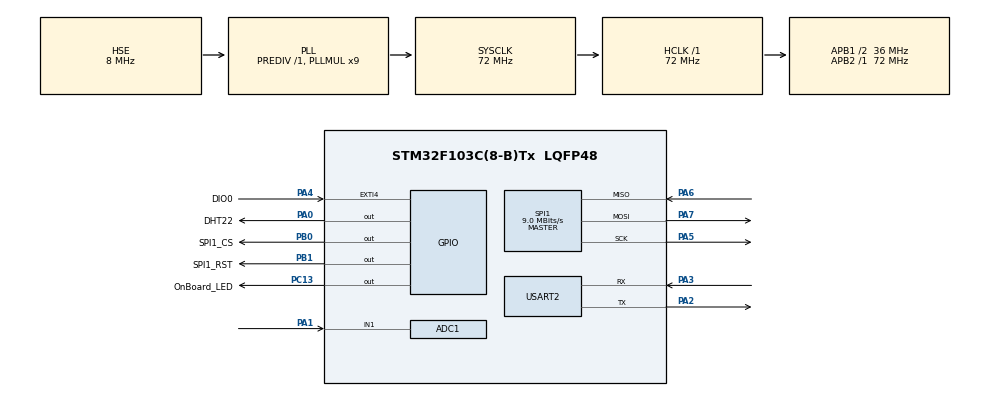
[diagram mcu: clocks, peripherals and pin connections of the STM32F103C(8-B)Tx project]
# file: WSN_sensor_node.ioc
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ADC1.Channel-0\#ChannelRegularConversion=ADC_CHANNEL_1
ADC1.NbrOfConversionFlag=1
ADC1.Rank-0\#ChannelRegularConversion=1
ADC1.SamplingTime-0\#ChannelRegularConversion=ADC_SAMPLETIME_1CYCLE_5
ADC1.master=1
Mcu.Family=STM32F1
Mcu.Name=STM32F103C(8-B)Tx
Mcu.Package=LQFP48
NVIC.EXTI4_IRQn=true\:0\:0\:false\:false\:true\:true\:true\:true
NVIC.PriorityGroup=NVIC_PRIORITYGROUP_4
NVIC.RTC_Alarm_IRQn=true\:0\:0\:false\:false\:true\:true\:true\:true
NVIC.SPI1_IRQn=true\:0\:0\:false\:false\:true\:true\:true\:true
PA0-WKUP.GPIO_Label=DHT22
PA0-WKUP.Signal=GPIO_Output
PA1.Signal=ADCx_IN1
PA13.Mode=Serial_Wire
PA13.Signal=SYS_JTMS-SWDIO
PA14.Mode=Serial_Wire
PA14.Signal=SYS_JTCK-SWCLK
PA2.Mode=Asynchronous
PA2.Signal=USART2_TX
PA3.Mode=Asynchronous
PA3.Signal=USART2_RX
PA4.GPIO_Label=DIO0
PA4.Signal=GPXTI4
PA5.Mode=Full_Duplex_Master
PA5.Signal=SPI1_SCK
PA6.Mode=Full_Duplex_Master
PA6.Signal=SPI1_MISO
PA7.Mode=Full_Duplex_Master
PA7.Signal=SPI1_MOSI
PB0.GPIO_Label=SPI1_CS
PB0.PinState=GPIO_PIN_SET
PB0.Signal=GPIO_Output
PB1.GPIO_Label=SPI1_RST
PB1.PinState=GPIO_PIN_SET
PB1.Signal=GPIO_Output
PC13-TAMPER-RTC.GPIO_Label=OnBoard_LED
PC13-TAMPER-RTC.Signal=GPIO_Output
PC14-OSC32_IN.Mode=LSE-External-Oscillator
PC14-OSC32_IN.Signal=RCC_OSC32_IN
PC15-OSC32_OUT.Mode=LSE-External-Oscillator
PC15-OSC32_OUT.Signal=RCC_OSC32_OUT
PD0-OSC_IN.Mode=HSE-External-Oscillator
PD0-OSC_IN.Signal=RCC_OSC_IN
PD1-OSC_OUT.Mode=HSE-External-Oscillator
PD1-OSC_OUT.Signal=RCC_OSC_OUT
ProjectManager.HeapSize=0x200
ProjectManager.StackSize=0x400
ProjectManager.TargetToolchain=STM32CubeIDE
RCC.ADCPresc=RCC_ADCPCLK2_DIV6
RCC.AHBFreq_Value=72000000
RCC.APB1CLKDivider=RCC_HCLK_DIV2
RCC.APB1Freq_Value=36000000
RCC.APB1TimFreq_Value=72000000
RCC.APB2Freq_Value=72000000
RCC.APB2TimFreq_Value=72000000
RCC.HCLKFreq_Value=72000000
RCC.PLLMUL=RCC_PLL_MUL9
RCC.PLLSourceVirtual=RCC_PLLSOURCE_HSE
RCC.RTCClockSelection=RCC_RTCCLKSOURCE_LSE
RCC.SYSCLKFreq_VALUE=72000000
RCC.SYSCLKSource=RCC_SYSCLKSOURCE_PLLCLK
RCC.USBFreq_Value=72000000
SH.ADCx_IN1.0=ADC1_IN1,IN1
SPI1.BaudRatePrescaler=SPI_BAUDRATEPRESCALER_8
SPI1.CalculateBaudRate=9.0 MBits/s
SPI1.Direction=SPI_DIRECTION_2LINES
SPI1.Mode=SPI_MODE_MASTER
SPI1.VirtualType=VM_MASTER
TIM4.Prescaler=71
USART2.VirtualMode=VM_ASYNC
VP_RTC_VS_RTC_Activate.Mode=RTC_Enabled
VP_RTC_VS_RTC_Calendar.Mode=RTC_Calendar
VP_TIM1_VS_ClockSourceINT.Mode=Internal
VP_TIM4_VS_ClockSourceINT.Mode=Internal
board=custom

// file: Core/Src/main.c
/* USER CODE BEGIN Header */
/**
  ******************************************************************************
  * @file           : main.c
  * @brief          : Main program body
  ******************************************************************************
  * @attention
  *
  * Copyright (c) 2025 STMicroelectronics.
  * All rights reserved.
  *
  * This software is licensed under terms that can be found in the LICENSE file
  * in the root directory of this software component.
  * If no LICENSE file comes with this software, it is provided AS-IS.
  *
  ******************************************************************************
  */
/* USER CODE END Header */
#include "main.h"
#include "adc.h"
#include "rtc.h"
#include "spi.h"
#include "tim.h"
#include "usart.h"
#include "gpio.h"

/* USER CODE BEGIN Includes */
#include "sx1278_lora.h"
#include "test_stop_mode.h"
#include "lora_app.h"
#include "sensor_handle.h"

/* USER CODE END Includes */

/* USER CODE BEGIN PV */

extern uint16_t TOTAL_CYCLE_SEC;

LoRa myLoRa;
Sensor_Config_t mySensors;
Sensor_Data_t   myData;

uint8_t mySlot = 0;
uint32_t sensor_cycle_count = 0;

uint8_t txBuffer[128];
uint8_t rxBuffer[128];

volatile uint8_t loraRxDoneFlag = 0; // Cờ báo nhận xong từ ngắt DIO0
volatile uint32_t ledTimerStart = 0;  // Thời điểm bắt đầu bật LED
volatile uint8_t ledTimerActive = 0; // Cờ báo LED đang trong thời gian sáng

volatile uint8_t alarm_triggered = 0;
/* USER CODE END PV */

void SystemClock_Config(void);

/* USER CODE BEGIN 0 */
uint8_t initialize_lora() {

    myLoRa.CS_port = SPI1_CS_GPIO_Port;
    myLoRa.CS_pin = SPI1_CS_Pin;
    myLoRa.reset_port = SPI1_RST_GPIO_Port;
    myLoRa.reset_pin = SPI1_RST_Pin;
    myLoRa.DIO0_port = DIO0_GPIO_Port;
    myLoRa.DIO0_pin = DIO0_Pin;
    myLoRa.hSPI = &hspi1;

    // --- Cấu hình LoRa ---
    myLoRa.frequency = 433;
    myLoRa.spredingFactor = SF_7;
    myLoRa.bandWidth = BW_125KHz;
    myLoRa.crcRate = CR_4_5;
    myLoRa.power = POWER_20db;
    myLoRa.overCurrentProtection = 140;
    myLoRa.preamble = 8;

    // --- Thực hiện Reset và Init ---
    LoRa_reset(&myLoRa);
    uint16_t init_result = LoRa_init(&myLoRa);
    if (init_result != LORA_OK) {
        return 0;
    }
    printf("LoRa Init OK. Node ID: %s\r\n", MY_SENSOR_ID);
    HAL_GPIO_WritePin(LED_PORT, LED_PIN, 1);
    return 1;
}

/* USER CODE END 0 */

int main(void)
{

  /* MCU Configuration--------------------------------------------------------*/

  /* Reset of all peripherals, Initializes the Flash interface and the Systick. */
  HAL_Init();

  /* Configure the system clock */
  SystemClock_Config();

  /* Initialize all configured peripherals */
  MX_GPIO_Init();
  MX_SPI1_Init();
  MX_TIM4_Init();
  MX_RTC_Init();
  MX_USART2_UART_Init();
  MX_ADC1_Init();
  MX_TIM1_Init();
  /* USER CODE BEGIN 2 */

  __HAL_RCC_PWR_CLK_ENABLE();

  // --- LORA INIT ---
  if(initialize_lora() == 0) {
        printf("LoRa Init Failed!\r\n");
//        Error_Handler();
    }

  //--- SENSOR INIT ---
  mySensors.htim_us = &htim4;        	// Timer 4 cấu hình 1us/tick
  mySensors.dht_port = DHT22_GPIO_Port; // Port định nghĩa trong main.h
  mySensors.dht_pin  = DHT22_Pin;       // Pin định nghĩa trong main.h
  mySensors.hadc_soil = &hadc1;      	// ADC1

  //Khởi tạo Sensor (Bật Timer, Calib ADC)
  Sensor_Init(&mySensors);

  // --- PHA ĐĂNG KÝ (REGISTRATION PHASE) ---
  mySlot = LoRaApp_Sensor_RegistrationPhase(&myLoRa, rxBuffer, sizeof(rxBuffer),
                                              &loraRxDoneFlag, MY_SENSOR_ID, TARGET_RELAY_ID);

  /* USER CODE END 2 */

  /* Infinite loop */
  /* USER CODE BEGIN WHILE */
  while (1)
  {

	  // --- PHA BÁO CÁO (REPORT PHASE) ---
	  printf("\r\n[SENSOR] >>> NEW CYCLE STARTED <<<\r\n");

	  // TASK 1: GỬI DỮ LIỆU (Timeout: SENSOR_TX_WINDOW_MS)
	  LoRaApp_Sensor_Task_SendData(&myLoRa, MY_SENSOR_ID, TARGET_RELAY_ID, mySlot);

	  // TASK 2: ĐO CẢM BIẾN (Timeout: SENSOR_MEASURE_WINDOW_MS)
	  uint32_t active_time_ms = SENSOR_TX_WINDOW_MS;

	  // Chỉ đo mỗi SENSOR_MEASURE_CYCLE cố định
	  if ((sensor_cycle_count % SENSOR_MEASURE_CYCLE) == 0) {
	            // Thực hiện đo (Mất thêm 3s)
	            LoRaApp_Sensor_Task_Measure(&mySensors);
	            active_time_ms += SENSOR_MEASURE_WINDOW_MS;
		} else {
			printf("[SENSOR] Skip Measure phase.\r\n");
		}

	  //--- CÀI ĐẶT RTC + VÀO CHẾ ĐỘ STOP MODE ---
	  uint32_t sleep_sec = TOTAL_CYCLE_SEC - (active_time_ms / 1000);

	  printf("[SENSOR] Active: %lu ms. Enter STOP mode: %lu s.\r\n", active_time_ms, sleep_sec);

	  sensor_cycle_count++;

	  RTC_SetAlarm_In_Seconds(sleep_sec);
	  Enter_Stop_Mode();

    /* USER CODE END WHILE */

  }
}

void SystemClock_Config(void)
{
  RCC_OscInitTypeDef RCC_OscInitStruct = {0};
  RCC_ClkInitTypeDef RCC_ClkInitStruct = {0};
  RCC_PeriphCLKInitTypeDef PeriphClkInit = {0};

  /** Initializes the RCC Oscillators according to the specified parameters
  * in the RCC_OscInitTypeDef structure.
  */
  RCC_OscInitStruct.OscillatorType = RCC_OSCILLATORTYPE_HSE|RCC_OSCILLATORTYPE_LSE;
  RCC_OscInitStruct.HSEState = RCC_HSE_ON;
  RCC_OscInitStruct.HSEPredivValue = RCC_HSE_PREDIV_DIV1;
  RCC_OscInitStruct.LSEState = RCC_LSE_ON;
  RCC_OscInitStruct.HSIState = RCC_HSI_ON;
  RCC_OscInitStruct.PLL.PLLState = RCC_PLL_ON;
  RCC_OscInitStruct.PLL.PLLSource = RCC_PLLSOURCE_HSE;
  RCC_OscInitStruct.PLL.PLLMUL = RCC_PLL_MUL9;
  if (HAL_RCC_OscConfig(&RCC_OscInitStruct) != HAL_OK)
  {
    Error_Handler();
  }

  /** Initializes the CPU, AHB and APB buses clocks
  */
  RCC_ClkInitStruct.ClockType = RCC_CLOCKTYPE_HCLK|RCC_CLOCKTYPE_SYSCLK
                              |RCC_CLOCKTYPE_PCLK1|RCC_CLOCKTYPE_PCLK2;
  RCC_ClkInitStruct.SYSCLKSource = RCC_SYSCLKSOURCE_PLLCLK;
  RCC_ClkInitStruct.AHBCLKDivider = RCC_SYSCLK_DIV1;
  RCC_ClkInitStruct.APB1CLKDivider = RCC_HCLK_DIV2;
  RCC_ClkInitStruct.APB2CLKDivider = RCC_HCLK_DIV1;

  if (HAL_RCC_ClockConfig(&RCC_ClkInitStruct, FLASH_LATENCY_2) != HAL_OK)
  {
    Error_Handler();
  }
  PeriphClkInit.PeriphClockSelection = RCC_PERIPHCLK_RTC|RCC_PERIPHCLK_ADC;
  PeriphClkInit.RTCClockSelection = RCC_RTCCLKSOURCE_LSE;
  PeriphClkInit.AdcClockSelection = RCC_ADCPCLK2_DIV6;
  if (HAL_RCCEx_PeriphCLKConfig(&PeriphClkInit) != HAL_OK)
  {
    Error_Handler();
  }
}

/* USER CODE BEGIN 4 */

// Hàm printf qua UART2
#ifdef __GNUC__
#define PUTCHAR_PROTOTYPE int __io_putchar(int ch)
#else
#define PUTCHAR_PROTOTYPE int fputc(int ch, FILE *f)
#endif

PUTCHAR_PROTOTYPE {
    HAL_UART_Transmit(&huart2, (uint8_t *)&ch, 1, HAL_MAX_DELAY);
    return ch;
}

//===================== CALLBACK XỬ LÝ NGẮT DIO0 ===========================
void HAL_GPIO_EXTI_Callback(uint16_t GPIO_Pin)
{
    if (GPIO_Pin == myLoRa.DIO0_pin) {
        loraRxDoneFlag = 1;
//        printf("[RELAY] DIO0 Interrupt Triggered!\r\n");
    }

}

void HAL_RTC_AlarmAEventCallback(RTC_HandleTypeDef *hrtc)
{
//    // Bật lại SysTick
//    HAL_ResumeTick();
//
//    // Khôi phục lại Clock
//    SystemClock_Config_FromStop();

	alarm_triggered = 1;
	// Nháy đèn nhanh để biết ngắt đã vào
	HAL_GPIO_TogglePin(GPIOC, GPIO_PIN_13);

}

/* USER CODE END 4 */

void Error_Handler(void)
{
  __disable_irq();
  while (1)
  {
  }
}
